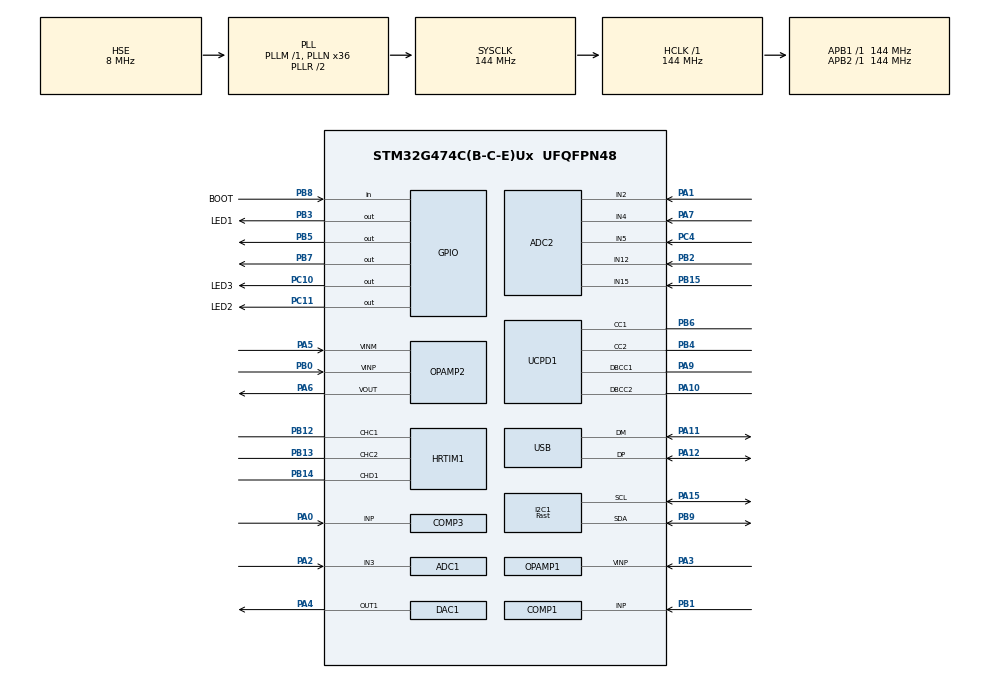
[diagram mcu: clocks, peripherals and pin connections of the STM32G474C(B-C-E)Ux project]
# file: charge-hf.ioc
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ADC1.Channel-1\#ChannelRegularConversion=ADC_CHANNEL_3
ADC1.EnableInjectedConversion=DISABLE
ADC1.NbrOfConversionFlag=1
ADC1.OffsetNumber-1\#ChannelRegularConversion=ADC_OFFSET_NONE
ADC1.Rank-1\#ChannelRegularConversion=1
ADC1.SamplingTime-1\#ChannelRegularConversion=ADC_SAMPLETIME_2CYCLES_5
ADC1.master=1
ADC2.Channel-5\#ChannelRegularConversion=ADC_CHANNEL_4
ADC2.Channel-6\#ChannelRegularConversion=ADC_CHANNEL_5
ADC2.ContinuousConvMode=ENABLE
ADC2.DMAContinuousRequests=ENABLE
ADC2.EOCSelection=ADC_EOC_SEQ_CONV
ADC2.EnableInjectedConversion=ENABLE
ADC2.EnableRegularConversion=ENABLE
ADC2.ExternalTrigInjecConv=ADC_EXTERNALTRIGINJEC_HRTIM_TRG2
ADC2.InjNumberOfConversion=4
ADC2.InjectedChannel-1\#ChannelInjectedConversion=ADC_CHANNEL_VOPAMP2
ADC2.InjectedChannel-2\#ChannelInjectedConversion=ADC_CHANNEL_2
ADC2.InjectedChannel-3\#ChannelInjectedConversion=ADC_CHANNEL_12
ADC2.InjectedChannel-4\#ChannelInjectedConversion=ADC_CHANNEL_15
ADC2.InjectedOffsetNumber-1\#ChannelInjectedConversion=ADC_OFFSET_NONE
ADC2.InjectedOffsetNumber-2\#ChannelInjectedConversion=ADC_OFFSET_NONE
ADC2.InjectedOffsetNumber-3\#ChannelInjectedConversion=ADC_OFFSET_NONE
ADC2.InjectedOffsetNumber-4\#ChannelInjectedConversion=ADC_OFFSET_NONE
ADC2.InjectedRank-1\#ChannelInjectedConversion=1
ADC2.InjectedRank-2\#ChannelInjectedConversion=2
ADC2.InjectedRank-3\#ChannelInjectedConversion=3
ADC2.InjectedRank-4\#ChannelInjectedConversion=4
ADC2.InjectedSamplingTime-1\#ChannelInjectedConversion=ADC_SAMPLETIME_47CYCLES_5
ADC2.InjectedSamplingTime-2\#ChannelInjectedConversion=ADC_SAMPLETIME_47CYCLES_5
ADC2.InjectedSamplingTime-3\#ChannelInjectedConversion=ADC_SAMPLETIME_47CYCLES_5
ADC2.InjectedSamplingTime-4\#ChannelInjectedConversion=ADC_SAMPLETIME_47CYCLES_5
ADC2.NbrOfConversion=2
ADC2.NbrOfConversionFlag=1
ADC2.OffsetNumber-5\#ChannelRegularConversion=ADC_OFFSET_NONE
ADC2.OffsetNumber-6\#ChannelRegularConversion=ADC_OFFSET_NONE
ADC2.Overrun=ADC_OVR_DATA_OVERWRITTEN
ADC2.Rank-5\#ChannelRegularConversion=1
ADC2.Rank-6\#ChannelRegularConversion=2
ADC2.SamplingTime-5\#ChannelRegularConversion=ADC_SAMPLETIME_47CYCLES_5
ADC2.SamplingTime-6\#ChannelRegularConversion=ADC_SAMPLETIME_47CYCLES_5
Dma.ADC2.0.Direction=DMA_PERIPH_TO_MEMORY
Dma.ADC2.0.EventEnable=DISABLE
Dma.ADC2.0.Instance=DMA1_Channel1
Dma.ADC2.0.MemDataAlignment=DMA_MDATAALIGN_HALFWORD
Dma.ADC2.0.MemInc=DMA_MINC_ENABLE
Dma.ADC2.0.Mode=DMA_CIRCULAR
Dma.ADC2.0.PeriphDataAlignment=DMA_PDATAALIGN_HALFWORD
Dma.ADC2.0.PeriphInc=DMA_PINC_DISABLE
Dma.ADC2.0.Polarity=HAL_DMAMUX_REQ_GEN_RISING
Dma.ADC2.0.Priority=DMA_PRIORITY_MEDIUM
Dma.ADC2.0.RequestNumber=1
Dma.ADC2.0.SignalID=NONE
Dma.ADC2.0.SyncEnable=DISABLE
Dma.ADC2.0.SyncPolarity=HAL_DMAMUX_SYNC_NO_EVENT
Dma.ADC2.0.SyncRequestNumber=1
Dma.ADC2.0.SyncSignalID=NONE
Dma.Request0=ADC2
HRTIM1.ADCTrigger1_Source1=HRTIM_ADCTRIGGEREVENT13_TIMERD_CMP3
HRTIM1.ADCTrigger2_Source1=HRTIM_ADCTRIGGEREVENT24_TIMERD_CMP2
HRTIM1.ADCTrigger_Id1=__NULL
HRTIM1.ADCTrigger_Id2=HRTIM_ADCTRIGGER_2
HRTIM1.CompareUnit1-Output_TC1TC2=HRTIM_COMPAREUNIT_1
HRTIM1.CompareUnit1-Output_TD1=HRTIM_COMPAREUNIT_1
HRTIM1.CompareUnit2-Output_TD1=HRTIM_COMPAREUNIT_2
HRTIM1.CompareUnit3-Output_TD1=__NULL
HRTIM1.CompareValue1-Output_TC1TC2=HF_PERIOD/2
HRTIM1.CompareValue1-Output_TD1=0
HRTIM1.CompareValue2-Output_TD1=127
HRTIM1.CompareValue3-Output_TD1=1023
HRTIM1.Configuration_TC=Waveform
HRTIM1.Configuration_TD=Waveform
HRTIM1.DeadTimeInsertion-Output_TC1TC2=HRTIM_TIMDEADTIMEINSERTION_ENABLED
HRTIM1.Event_EEV1=__NULL
HRTIM1.FallingSignLock-Output_TC1TC2=HRTIM_TIMDEADTIME_FALLINGSIGNLOCK_READONLY
HRTIM1.FallingValue-Output_TC1TC2=hf.DTfalling
HRTIM1.NumberADCTriggerSource1=1
HRTIM1.NumberADCTriggerSource2=1
HRTIM1.NumberResetSource1-Output_TC1TC2=1
HRTIM1.NumberResetSource1-Output_TD1=1
HRTIM1.NumberResetSource2_TC=0
HRTIM1.NumberSetSource1-Output_TC1TC2=1
HRTIM1.NumberSetSource1-Output_TD1=1
HRTIM1.NumberSetSource2_TC=0
HRTIM1.OCChannel_TC1=__NULL
HRTIM1.ORingUpdateSource_ADCTrigger1=HRTIM_ADCTRIGGERUPDATE_TIMER_D
HRTIM1.ORingUpdateSource_ADCTrigger2=HRTIM_ADCTRIGGERUPDATE_TIMER_D
HRTIM1.PWMChannel_TC1=HRTIM_OUTPUT_TC1
HRTIM1.PWMChannel_TC2=HRTIM_OUTPUT_TC2
HRTIM1.PWMChannel_TD1=HRTIM_OUTPUT_TD1
HRTIM1.PWMPulse_TD1=127
HRTIM1.Periode_TC=(144000*32) / (uint32_t)(hf.freq / 1000)
HRTIM1.Periode_TD=SEPIC_PERIOD
HRTIM1.Polarity1-Output_TC1TC2=HRTIM_OUTPUTPOLARITY_HIGH
HRTIM1.Polarity2-Output_TC1TC2=HRTIM_OUTPUTPOLARITY_HIGH
HRTIM1.PreloadEnable-Output_TC1TC2=HRTIM_PRELOAD_ENABLED
HRTIM1.PreloadEnable-Output_TD1=HRTIM_PRELOAD_ENABLED
HRTIM1.PrescalerRatio_TC=HRTIM_PRESCALERRATIO_MUL32
HRTIM1.RepetitionCounter-Output_TD1=31
HRTIM1.RepetitionUpdate-Output_TC1TC2=HRTIM_UPDATEONREPETITION_ENABLED
HRTIM1.RepetitionUpdate-Output_TD1=HRTIM_UPDATEONREPETITION_ENABLED
HRTIM1.ResetOutput1_Source1-Output_TC1TC2=HRTIM_OUTPUTRESET_TIMPER
HRTIM1.ResetOutput1_Source1-Output_TD1=HRTIM_OUTPUTRESET_TIMCMP1
HRTIM1.ResetOutput2_Source1-Output_TC1TC2=HRTIM_OUTPUTRESET_TIMCMP1
HRTIM1.RisingSignLock-Output_TC1TC2=HRTIM_TIMDEADTIME_RISINGSIGNLOCK_READONLY
HRTIM1.RisingValue-Output_TC1TC2=hf.DTrising
HRTIM1.SetOutput1_Source1-Output_TC1TC2=HRTIM_OUTPUTSET_TIMCMP1
HRTIM1.SetOutput1_Source1-Output_TD1=HRTIM_OUTPUTSET_TIMPER
HRTIM1.SetOutput2_Source1-Output_TC1TC2=HRTIM_OUTPUTSET_TIMPER
I2C1.I2C_Speed_Mode=I2C_Fast
I2C1.Timing=0x00E057FD
Mcu.Family=STM32G4
Mcu.Name=STM32G474C(B-C-E)Ux
Mcu.Package=UFQFPN48
NVIC.DMA1_Channel1_IRQn=true\:0\:0\:false\:false\:true\:false\:true
NVIC.HRTIM1_TIMD_IRQn=true\:0\:0\:false\:false\:true\:true\:true
NVIC.PriorityGroup=NVIC_PRIORITYGROUP_4
OPAMP1.PgaGain=OPAMP_PGA_GAIN_16_OR_MINUS_15
OPAMP1.PowerMode=OPAMP_POWERMODE_HIGHSPEED
OPAMP2.PgaGain=OPAMP_PGA_GAIN_64_OR_MINUS_63
OPAMP2.PowerMode=OPAMP_POWERMODE_HIGHSPEED
PA0.Mode=INP
PA0.Signal=COMP3_INP
PA1.Mode=IN2-Single-Ended
PA1.Signal=ADC2_IN2
PA10.Mode=EnableDeadBattery
PA10.Signal=UCPD1_DBCC2
PA11.Mode=Device
PA11.Signal=USB_DM
PA12.Mode=Device
PA12.Signal=USB_DP
PA13.Mode=Serial_Wire
PA13.Signal=SYS_JTMS-SWDIO
PA14.Mode=Serial_Wire
PA14.Signal=SYS_JTCK-SWCLK
PA15.Mode=I2C
PA15.Signal=I2C1_SCL
PA2.Mode=IN3-Single-Ended
PA2.Signal=ADC1_IN3
PA3.Mode=PGA_Internally_Connected
PA3.Signal=OPAMP1_VINP
PA4.Signal=COMP_DAC11_group
PA5.Mode=PGA Connected
PA5.Signal=OPAMP2_VINM
PA6.Mode=PGA Connected
PA6.Signal=OPAMP2_VOUT
PA7.Mode=IN4-Single-Ended
PA7.Signal=ADC2_IN4
PA9.Mode=EnableDeadBattery
PA9.Signal=UCPD1_DBCC1
PB0.Mode=PGA Connected
PB0.Signal=OPAMP2_VINP
PB1.Mode=INP
PB1.Signal=COMP1_INP
PB12.Mode=Output_TC1TC2
PB12.Signal=HRTIM1_CHC1
PB13.Mode=Output_TC1TC2
PB13.Signal=HRTIM1_CHC2
PB14.Mode=Output_TD1
PB14.Signal=HRTIM1_CHD1
PB15.Mode=IN15-Single-Ended
PB15.Signal=ADC2_IN15
PB2.Mode=IN12-Single-Ended
PB2.Signal=ADC2_IN12
PB3.GPIO_Label=LED1
PB3.Signal=GPIO_Output
PB4.Mode=Sink_AllSignals
PB4.Signal=UCPD1_CC2
PB5.Signal=GPIO_Output
PB6.Mode=Sink_AllSignals
PB6.Signal=UCPD1_CC1
PB7.Signal=GPIO_Output
PB8-BOOT0.GPIO_Label=BOOT
PB8-BOOT0.Signal=GPIO_Input
PB9.Mode=I2C
PB9.Signal=I2C1_SDA
PC10.GPIO_Label=LED3
PC10.Signal=GPIO_Output
PC11.GPIO_Label=LED2
PC11.Signal=GPIO_Output
PC4.Mode=IN5-Single-Ended
PC4.Signal=ADC2_IN5
PF0-OSC_IN.Mode=HSE-External-Oscillator
PF0-OSC_IN.Signal=RCC_OSC_IN
PF1-OSC_OUT.Mode=HSE-External-Oscillator
PF1-OSC_OUT.Signal=RCC_OSC_OUT
ProjectManager.HeapSize=0x200
ProjectManager.StackSize=0x400
ProjectManager.TargetToolchain=Makefile
RCC.ADC12Freq_Value=144000000
RCC.ADC345Freq_Value=144000000
RCC.AHBFreq_Value=144000000
RCC.APB1Freq_Value=144000000
RCC.APB1TimFreq_Value=144000000
RCC.APB2Freq_Value=144000000
RCC.APB2TimFreq_Value=144000000
RCC.CortexFreq_Value=144000000
RCC.EXTERNAL_CLOCK_VALUE=12288000
RCC.HCLKFreq_Value=144000000
RCC.HSE_VALUE=8000000
RCC.HSI48_VALUE=48000000
RCC.HSI_VALUE=16000000
RCC.LSE_VALUE=32768
RCC.PLLN=36
RCC.PLLQ=RCC_PLLQ_DIV6
RCC.PLLSourceVirtual=RCC_PLLSOURCE_HSE
RCC.SYSCLKFreq_VALUE=144000000
RCC.SYSCLKSource=RCC_SYSCLKSOURCE_PLLCLK
RCC.USBFreq_Value=48000000
RCC.VCOOutputFreq_Value=288000000
SH.COMP_DAC11_group.0=DAC1_OUT1,DAC_OUT1_ExtAndInt
VP_ADC1_OPAMP_INTERNAL1.Mode=IN-OPAMP1
VP_ADC2_OPAMP_INTERNAL2.Mode=IN-OPAMP2
VP_COMP1_VS_DAC1OUT1.Mode=INM_DAC1OUT1
VP_COMP3_VS_DAC3OUT1.Mode=INM_DAC3OUT1
VP_DAC3_VS_DACI1.Mode=DAC_OUT1_Int
VP_SYS_VS_DBSignals.Mode=DisableDeadBatterySignals
VREF+.Mode=InternalMode
VREF+.Signal=VREFBUF_OUT
board=custom

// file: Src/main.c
/* USER CODE BEGIN Header */
/**
  ******************************************************************************
  * @file           : main.c
  * @brief          : Main program body
  ******************************************************************************
  * @attention
  *
  * <h2><center>&copy; Copyright (c) 2021 STMicroelectronics.
  * All rights reserved.</center></h2>
  *
  * This software component is licensed by ST under BSD 3-Clause license,
  * the "License"; You may not use this file except in compliance with the
  * License. You may obtain a copy of the License at:
  *                        opensource.org/licenses/BSD-3-Clause
  *
  ******************************************************************************
  */
/* USER CODE END Header */

#include "main.h"

/* USER CODE BEGIN Includes */
#include "stm32g4xx_ll_hrtim.h"
#include <stdio.h>
#include <stdlib.h>
#include <string.h>
#include "usb_device.h"
/* USER CODE END Includes */

ADC_HandleTypeDef hadc1;
ADC_HandleTypeDef hadc2;
DMA_HandleTypeDef hdma_adc2;

COMP_HandleTypeDef hcomp1;
COMP_HandleTypeDef hcomp3;

DAC_HandleTypeDef hdac1;
DAC_HandleTypeDef hdac3;

HRTIM_HandleTypeDef hhrtim1;

I2C_HandleTypeDef hi2c1;

OPAMP_HandleTypeDef hopamp1;
OPAMP_HandleTypeDef hopamp2;

PCD_HandleTypeDef hpcd_USB_FS;

/* USER CODE BEGIN PV */
/* SCPI bbuffer */
extern uint8_t UserRxBufferFS[APP_RX_DATA_SIZE];
extern uint8_t UserTxBufferFS[APP_TX_DATA_SIZE];
uint8_t is_new_data_ready;
uint16_t new_data_length;

volatile sepic_control_t sepic = {
  .Vset = 5.0, // 5V amplifier supply
  .Iset = 3.0  // 3A USB current limit
};

volatile knobs_t knobs;

volatile hf_control_t hf = {
  .freq = 6780000,  // 6.78 MHz
  .DTrising = 4, // rising deadtime, 0 - 511
  .DTfalling = 4 // falling deadtime, 0 - 511
};

uint16_t adc2_regular_buf[2];

/* USER CODE END PV */

void SystemClock_Config(void);
static void MX_GPIO_Init(void);
static void MX_DMA_Init(void);
static void MX_ADC1_Init(void);
static void MX_ADC2_Init(void);
static void MX_COMP1_Init(void);
static void MX_COMP3_Init(void);
static void MX_DAC1_Init(void);
static void MX_DAC3_Init(void);
static void MX_HRTIM1_Init(void);
static void MX_I2C1_Init(void);
static void MX_OPAMP1_Init(void);
static void MX_OPAMP2_Init(void);
static void MX_UCPD1_Init(void);
static void MX_USB_PCD_Init(void);

/* USER CODE BEGIN 0 */
void HAL_HRTIM_RepetitionEventCallback(HRTIM_HandleTypeDef * hhrtim, uint32_t TimerIdx) {
  if (TimerIdx == HRTIM_TIMERINDEX_TIMER_D) {
    sepic.Icycle = (HAL_ADCEx_InjectedGetValue(&hadc2, ADC_INJECTED_RANK_1) * VDDA)/0xFFF;
    sepic.Icycle = sepic.Icycle / (0.01 * 64.0); // 10m sense, OPAMP2 64 Gain

    sepic.Vout = (HAL_ADCEx_InjectedGetValue(&hadc2, ADC_INJECTED_RANK_2) * VDDA)/0xFFF;
    sepic.Vout = sepic.Vout / (5100.0 / (100000.0 + 5100.0)); // 100k by 5k1 divider

    sepic.Iin = (HAL_ADCEx_InjectedGetValue(&hadc2, ADC_INJECTED_RANK_3) * VDDA)/0xFFF;
    sepic.Iin = sepic.Iin / (0.01 * (2000.0 / 33.0)); // Si8540, 10m sense, 2k Rout, 33R Rg

    sepic.Vin = (HAL_ADCEx_InjectedGetValue(&hadc2, ADC_INJECTED_RANK_4) * VDDA)/0xFFF;
    sepic.Vin = sepic.Vin / (5100.0 / (5100.0 + 5100.0)); // 5k1 by 5k1 divider
  }
}

/* USER CODE END 0 */

int main(void)
{

  /* MCU Configuration--------------------------------------------------------*/

  /* Reset of all peripherals, Initializes the Flash interface and the Systick. */
  HAL_Init();

  /* Configure the system clock */
  SystemClock_Config();

  /* Initialize all configured peripherals */
  MX_GPIO_Init();
  MX_DMA_Init();
  MX_ADC1_Init();
  MX_ADC2_Init();
  MX_COMP1_Init();
  MX_COMP3_Init();
  MX_DAC1_Init();
  MX_DAC3_Init();
  MX_HRTIM1_Init();
  MX_I2C1_Init();
  MX_OPAMP1_Init();
  MX_OPAMP2_Init();
  MX_UCPD1_Init();
  MX_USB_PCD_Init();
  /* USER CODE BEGIN 2 */
  MX_USB_Device_Init();

  SCPI_Init(&scpi_context,
      scpi_commands,
      &scpi_interface,
      scpi_units_def,
      SCPI_IDN1, SCPI_IDN2, SCPI_IDN3, SCPI_IDN4,
      scpi_input_buffer, SCPI_INPUT_BUFFER_LENGTH,
      scpi_error_queue_data, SCPI_ERROR_QUEUE_SIZE);

  /* Run the ADC2 calibration in single-ended mode */
  HAL_ADCEx_Calibration_Start(&hadc2, ADC_SINGLE_ENDED);

  /* Start ADC2 Injected Conversions */
  HAL_ADCEx_InjectedStart(&hadc2);

  /* HRTIM start-up */
  /* Enable HRTIM's outputs TC1, TC2 and TD1 */
  LL_HRTIM_EnableOutput(HRTIM1,
                          LL_HRTIM_OUTPUT_TC1
                        | LL_HRTIM_OUTPUT_TC2
                        | LL_HRTIM_OUTPUT_TD1);

  LL_HRTIM_EnableIT_REP(HRTIM1, LL_HRTIM_TIMER_C);
  LL_HRTIM_EnableIT_REP(HRTIM1, LL_HRTIM_TIMER_D);
  LL_HRTIM_TIM_CounterEnable(HRTIM1, LL_HRTIM_TIMER_C);
  LL_HRTIM_TIM_CounterEnable(HRTIM1, LL_HRTIM_TIMER_D);

  LL_HRTIM_TIM_SetCompare1(HRTIM1, LL_HRTIM_TIMER_D, 2000);

  HAL_ADC_Start_DMA(&hadc2, (uint32_t *)adc2_regular_buf, 2);

  /* USER CODE END 2 */

  /* Infinite loop */
  /* USER CODE BEGIN WHILE */
  uint32_t i = 0;
  while (1)
  {
    i++;
    if (i % 100000 == 0) {
      knobs.knob1 = (adc2_regular_buf[0] * VDDA)/0xFFF;
      knobs.knob2 = (adc2_regular_buf[1] * VDDA)/0xFFF;
    }
    /* USER CODE END WHILE */

    /* USER CODE BEGIN 3 */
    if (is_new_data_ready) {
      SCPI_Input(&scpi_context, UserRxBufferFS, new_data_length);
      is_new_data_ready = 0;
    }
  }
  /* USER CODE END 3 */
}

void SystemClock_Config(void)
{
  RCC_OscInitTypeDef RCC_OscInitStruct = {0};
  RCC_ClkInitTypeDef RCC_ClkInitStruct = {0};
  RCC_PeriphCLKInitTypeDef PeriphClkInit = {0};

  /** Configure the main internal regulator output voltage
  */
  HAL_PWREx_ControlVoltageScaling(PWR_REGULATOR_VOLTAGE_SCALE1);
  /** Initializes the CPU, AHB and APB busses clocks
  */
  RCC_OscInitStruct.OscillatorType = RCC_OSCILLATORTYPE_HSE;
  RCC_OscInitStruct.HSEState = RCC_HSE_ON;
  RCC_OscInitStruct.PLL.PLLState = RCC_PLL_ON;
  RCC_OscInitStruct.PLL.PLLSource = RCC_PLLSOURCE_HSE;
  RCC_OscInitStruct.PLL.PLLM = RCC_PLLM_DIV1;
  RCC_OscInitStruct.PLL.PLLN = 36;
  RCC_OscInitStruct.PLL.PLLP = RCC_PLLP_DIV2;
  RCC_OscInitStruct.PLL.PLLQ = RCC_PLLQ_DIV6;
  RCC_OscInitStruct.PLL.PLLR = RCC_PLLR_DIV2;
  if (HAL_RCC_OscConfig(&RCC_OscInitStruct) != HAL_OK)
  {
    Error_Handler();
  }
  /** Initializes the CPU, AHB and APB busses clocks
  */
  RCC_ClkInitStruct.ClockType = RCC_CLOCKTYPE_HCLK|RCC_CLOCKTYPE_SYSCLK
                              |RCC_CLOCKTYPE_PCLK1|RCC_CLOCKTYPE_PCLK2;
  RCC_ClkInitStruct.SYSCLKSource = RCC_SYSCLKSOURCE_PLLCLK;
  RCC_ClkInitStruct.AHBCLKDivider = RCC_SYSCLK_DIV1;
  RCC_ClkInitStruct.APB1CLKDivider = RCC_HCLK_DIV1;
  RCC_ClkInitStruct.APB2CLKDivider = RCC_HCLK_DIV1;

  if (HAL_RCC_ClockConfig(&RCC_ClkInitStruct, FLASH_LATENCY_7) != HAL_OK)
  {
    Error_Handler();
  }
  /** Initializes the peripherals clocks
  */
  PeriphClkInit.PeriphClockSelection = RCC_PERIPHCLK_I2C1|RCC_PERIPHCLK_USB
                              |RCC_PERIPHCLK_ADC12;
  PeriphClkInit.I2c1ClockSelection = RCC_I2C1CLKSOURCE_PCLK1;
  PeriphClkInit.UsbClockSelection = RCC_USBCLKSOURCE_PLL;
  PeriphClkInit.Adc12ClockSelection = RCC_ADC12CLKSOURCE_SYSCLK;
  if (HAL_RCCEx_PeriphCLKConfig(&PeriphClkInit) != HAL_OK)
  {
    Error_Handler();
  }
}

static void MX_ADC1_Init(void)
{

  ADC_MultiModeTypeDef multimode = {0};
  ADC_ChannelConfTypeDef sConfig = {0};

  /** Common config
  */
  hadc1.Instance = ADC1;
  hadc1.Init.ClockPrescaler = ADC_CLOCK_ASYNC_DIV1;
  hadc1.Init.Resolution = ADC_RESOLUTION_12B;
  hadc1.Init.DataAlign = ADC_DATAALIGN_RIGHT;
  hadc1.Init.GainCompensation = 0;
  hadc1.Init.ScanConvMode = ADC_SCAN_DISABLE;
  hadc1.Init.EOCSelection = ADC_EOC_SINGLE_CONV;
  hadc1.Init.LowPowerAutoWait = DISABLE;
  hadc1.Init.ContinuousConvMode = DISABLE;
  hadc1.Init.NbrOfConversion = 1;
  hadc1.Init.DiscontinuousConvMode = DISABLE;
  hadc1.Init.ExternalTrigConv = ADC_SOFTWARE_START;
  hadc1.Init.ExternalTrigConvEdge = ADC_EXTERNALTRIGCONVEDGE_NONE;
  hadc1.Init.DMAContinuousRequests = DISABLE;
  hadc1.Init.Overrun = ADC_OVR_DATA_PRESERVED;
  hadc1.Init.OversamplingMode = DISABLE;
  if (HAL_ADC_Init(&hadc1) != HAL_OK)
  {
    Error_Handler();
  }
  /** Configure the ADC multi-mode
  */
  multimode.Mode = ADC_MODE_INDEPENDENT;
  if (HAL_ADCEx_MultiModeConfigChannel(&hadc1, &multimode) != HAL_OK)
  {
    Error_Handler();
  }
  /** Configure Regular Channel
  */
  sConfig.Channel = ADC_CHANNEL_3;
  sConfig.Rank = ADC_REGULAR_RANK_1;
  sConfig.SamplingTime = ADC_SAMPLETIME_2CYCLES_5;
  sConfig.SingleDiff = ADC_SINGLE_ENDED;
  sConfig.OffsetNumber = ADC_OFFSET_NONE;
  sConfig.Offset = 0;
  if (HAL_ADC_ConfigChannel(&hadc1, &sConfig) != HAL_OK)
  {
    Error_Handler();
  }

}

static void MX_ADC2_Init(void)
{

  ADC_InjectionConfTypeDef sConfigInjected = {0};
  ADC_ChannelConfTypeDef sConfig = {0};

  /** Common config
  */
  hadc2.Instance = ADC2;
  hadc2.Init.ClockPrescaler = ADC_CLOCK_ASYNC_DIV1;
  hadc2.Init.Resolution = ADC_RESOLUTION_12B;
  hadc2.Init.DataAlign = ADC_DATAALIGN_RIGHT;
  hadc2.Init.GainCompensation = 0;
  hadc2.Init.ScanConvMode = ADC_SCAN_ENABLE;
  hadc2.Init.EOCSelection = ADC_EOC_SEQ_CONV;
  hadc2.Init.LowPowerAutoWait = DISABLE;
  hadc2.Init.ContinuousConvMode = ENABLE;
  hadc2.Init.NbrOfConversion = 2;
  hadc2.Init.DiscontinuousConvMode = DISABLE;
  hadc2.Init.ExternalTrigConv = ADC_SOFTWARE_START;
  hadc2.Init.ExternalTrigConvEdge = ADC_EXTERNALTRIGCONVEDGE_NONE;
  hadc2.Init.DMAContinuousRequests = ENABLE;
  hadc2.Init.Overrun = ADC_OVR_DATA_OVERWRITTEN;
  hadc2.Init.OversamplingMode = DISABLE;
  if (HAL_ADC_Init(&hadc2) != HAL_OK)
  {
    Error_Handler();
  }
  /** Configure Injected Channel
  */
  sConfigInjected.InjectedChannel = ADC_CHANNEL_VOPAMP2;
  sConfigInjected.InjectedRank = ADC_INJECTED_RANK_1;
  sConfigInjected.InjectedSamplingTime = ADC_SAMPLETIME_47CYCLES_5;
  sConfigInjected.InjectedSingleDiff = ADC_SINGLE_ENDED;
  sConfigInjected.InjectedOffsetNumber = ADC_OFFSET_NONE;
  sConfigInjected.InjectedOffset = 0;
  sConfigInjected.InjectedNbrOfConversion = 4;
  sConfigInjected.InjectedDiscontinuousConvMode = DISABLE;
  sConfigInjected.AutoInjectedConv = DISABLE;
  sConfigInjected.QueueInjectedContext = DISABLE;
  sConfigInjected.ExternalTrigInjecConv = ADC_EXTERNALTRIGINJEC_HRTIM_TRG2;
  sConfigInjected.ExternalTrigInjecConvEdge = ADC_EXTERNALTRIGINJECCONV_EDGE_RISING;
  sConfigInjected.InjecOversamplingMode = DISABLE;
  if (HAL_ADCEx_InjectedConfigChannel(&hadc2, &sConfigInjected) != HAL_OK)
  {
    Error_Handler();
  }
  /** Configure Injected Channel
  */
  sConfigInjected.InjectedChannel = ADC_CHANNEL_2;
  sConfigInjected.InjectedRank = ADC_INJECTED_RANK_2;
  if (HAL_ADCEx_InjectedConfigChannel(&hadc2, &sConfigInjected) != HAL_OK)
  {
    Error_Handler();
  }
  /** Configure Injected Channel
  */
  sConfigInjected.InjectedChannel = ADC_CHANNEL_12;
  sConfigInjected.InjectedRank = ADC_INJECTED_RANK_3;
  if (HAL_ADCEx_InjectedConfigChannel(&hadc2, &sConfigInjected) != HAL_OK)
  {
    Error_Handler();
  }
  /** Configure Injected Channel
  */
  sConfigInjected.InjectedChannel = ADC_CHANNEL_15;
  sConfigInjected.InjectedRank = ADC_INJECTED_RANK_4;
  if (HAL_ADCEx_InjectedConfigChannel(&hadc2, &sConfigInjected) != HAL_OK)
  {
    Error_Handler();
  }
  /** Configure Regular Channel
  */
  sConfig.Channel = ADC_CHANNEL_4;
  sConfig.Rank = ADC_REGULAR_RANK_1;
  sConfig.SamplingTime = ADC_SAMPLETIME_47CYCLES_5;
  sConfig.SingleDiff = ADC_SINGLE_ENDED;
  sConfig.OffsetNumber = ADC_OFFSET_NONE;
  sConfig.Offset = 0;
  if (HAL_ADC_ConfigChannel(&hadc2, &sConfig) != HAL_OK)
  {
    Error_Handler();
  }
  /** Configure Regular Channel
  */
  sConfig.Channel = ADC_CHANNEL_5;
  sConfig.Rank = ADC_REGULAR_RANK_2;
  if (HAL_ADC_ConfigChannel(&hadc2, &sConfig) != HAL_OK)
  {
    Error_Handler();
  }

}

static void MX_COMP1_Init(void)
{

  hcomp1.Instance = COMP1;
  hcomp1.Init.InputPlus = COMP_INPUT_PLUS_IO2;
  hcomp1.Init.InputMinus = COMP_INPUT_MINUS_DAC1_CH1;
  hcomp1.Init.OutputPol = COMP_OUTPUTPOL_NONINVERTED;
  hcomp1.Init.Hysteresis = COMP_HYSTERESIS_NONE;
  hcomp1.Init.BlankingSrce = COMP_BLANKINGSRC_NONE;
  hcomp1.Init.TriggerMode = COMP_TRIGGERMODE_NONE;
  if (HAL_COMP_Init(&hcomp1) != HAL_OK)
  {
    Error_Handler();
  }

}

static void MX_COMP3_Init(void)
{

  hcomp3.Instance = COMP3;
  hcomp3.Init.InputPlus = COMP_INPUT_PLUS_IO1;
  hcomp3.Init.InputMinus = COMP_INPUT_MINUS_DAC3_CH1;
  hcomp3.Init.OutputPol = COMP_OUTPUTPOL_NONINVERTED;
  hcomp3.Init.Hysteresis = COMP_HYSTERESIS_NONE;
  hcomp3.Init.BlankingSrce = COMP_BLANKINGSRC_NONE;
  hcomp3.Init.TriggerMode = COMP_TRIGGERMODE_NONE;
  if (HAL_COMP_Init(&hcomp3) != HAL_OK)
  {
    Error_Handler();
  }

}

static void MX_DAC1_Init(void)
{

  DAC_ChannelConfTypeDef sConfig = {0};

  /** DAC Initialization
  */
  hdac1.Instance = DAC1;
  if (HAL_DAC_Init(&hdac1) != HAL_OK)
  {
    Error_Handler();
  }
  /** DAC channel OUT1 config
  */
  sConfig.DAC_HighFrequency = DAC_HIGH_FREQUENCY_INTERFACE_MODE_AUTOMATIC;
  sConfig.DAC_DMADoubleDataMode = DISABLE;
  sConfig.DAC_SignedFormat = DISABLE;
  sConfig.DAC_SampleAndHold = DAC_SAMPLEANDHOLD_DISABLE;
  sConfig.DAC_Trigger = DAC_TRIGGER_NONE;
  sConfig.DAC_Trigger2 = DAC_TRIGGER_NONE;
  sConfig.DAC_OutputBuffer = DAC_OUTPUTBUFFER_ENABLE;
  sConfig.DAC_ConnectOnChipPeripheral = DAC_CHIPCONNECT_ENABLE;
  sConfig.DAC_UserTrimming = DAC_TRIMMING_FACTORY;
  if (HAL_DAC_ConfigChannel(&hdac1, &sConfig, DAC_CHANNEL_1) != HAL_OK)
  {
    Error_Handler();
  }

}

static void MX_DAC3_Init(void)
{

  DAC_ChannelConfTypeDef sConfig = {0};

  /** DAC Initialization
  */
  hdac3.Instance = DAC3;
  if (HAL_DAC_Init(&hdac3) != HAL_OK)
  {
    Error_Handler();
  }
  /** DAC channel OUT1 config
  */
  sConfig.DAC_HighFrequency = DAC_HIGH_FREQUENCY_INTERFACE_MODE_AUTOMATIC;
  sConfig.DAC_DMADoubleDataMode = DISABLE;
  sConfig.DAC_SignedFormat = DISABLE;
  sConfig.DAC_SampleAndHold = DAC_SAMPLEANDHOLD_DISABLE;
  sConfig.DAC_Trigger = DAC_TRIGGER_NONE;
  sConfig.DAC_Trigger2 = DAC_TRIGGER_NONE;
  sConfig.DAC_OutputBuffer = DAC_OUTPUTBUFFER_DISABLE;
  sConfig.DAC_ConnectOnChipPeripheral = DAC_CHIPCONNECT_ENABLE;
  sConfig.DAC_UserTrimming = DAC_TRIMMING_FACTORY;
  if (HAL_DAC_ConfigChannel(&hdac3, &sConfig, DAC_CHANNEL_1) != HAL_OK)
  {
    Error_Handler();
  }

}

static void MX_HRTIM1_Init(void)
{

  HRTIM_ADCTriggerCfgTypeDef pADCTriggerCfg = {0};
  HRTIM_TimeBaseCfgTypeDef pTimeBaseCfg = {0};
  HRTIM_TimerCtlTypeDef pTimerCtl = {0};
  HRTIM_TimerCfgTypeDef pTimerCfg = {0};
  HRTIM_CompareCfgTypeDef pCompareCfg = {0};
  HRTIM_DeadTimeCfgTypeDef pDeadTimeCfg = {0};
  HRTIM_OutputCfgTypeDef pOutputCfg = {0};

  hhrtim1.Instance = HRTIM1;
  hhrtim1.Init.HRTIMInterruptResquests = HRTIM_IT_NONE;
  hhrtim1.Init.SyncOptions = HRTIM_SYNCOPTION_NONE;
  if (HAL_HRTIM_Init(&hhrtim1) != HAL_OK)
  {
    Error_Handler();
  }
  if (HAL_HRTIM_DLLCalibrationStart(&hhrtim1, HRTIM_CALIBRATIONRATE_3) != HAL_OK)
  {
    Error_Handler();
  }
  if (HAL_HRTIM_PollForDLLCalibration(&hhrtim1, 10) != HAL_OK)
  {
    Error_Handler();
  }
  pADCTriggerCfg.UpdateSource = HRTIM_ADCTRIGGERUPDATE_TIMER_D;
  pADCTriggerCfg.Trigger = HRTIM_ADCTRIGGEREVENT24_TIMERD_CMP2;
  if (HAL_HRTIM_ADCTriggerConfig(&hhrtim1, HRTIM_ADCTRIGGER_2, &pADCTriggerCfg) != HAL_OK)
  {
    Error_Handler();
  }
  if (HAL_HRTIM_ADCPostScalerConfig(&hhrtim1, HRTIM_ADCTRIGGER_2, 0x0) != HAL_OK)
  {
    Error_Handler();
  }
  pTimeBaseCfg.Period = (144000*32) / (uint32_t)(hf.freq / 1000);
  pTimeBaseCfg.RepetitionCounter = 0x00;
  pTimeBaseCfg.PrescalerRatio = HRTIM_PRESCALERRATIO_MUL32;
  pTimeBaseCfg.Mode = HRTIM_MODE_CONTINUOUS;
  if (HAL_HRTIM_TimeBaseConfig(&hhrtim1, HRTIM_TIMERINDEX_TIMER_C, &pTimeBaseCfg) != HAL_OK)
  {
    Error_Handler();
  }
  pTimerCtl.UpDownMode = HRTIM_TIMERUPDOWNMODE_UP;
  pTimerCtl.GreaterCMP1 = HRTIM_TIMERGTCMP1_EQUAL;
  pTimerCtl.DualChannelDacEnable = HRTIM_TIMER_DCDE_DISABLED;
  if (HAL_HRTIM_WaveformTimerControl(&hhrtim1, HRTIM_TIMERINDEX_TIMER_C, &pTimerCtl) != HAL_OK)
  {
    Error_Handler();
  }
  pTimerCfg.InterruptRequests = HRTIM_TIM_IT_NONE;
  pTimerCfg.DMARequests = HRTIM_TIM_DMA_NONE;
  pTimerCfg.DMASrcAddress = 0x0000;
  pTimerCfg.DMADstAddress = 0x0000;
  pTimerCfg.DMASize = 0x1;
  pTimerCfg.HalfModeEnable = HRTIM_HALFMODE_DISABLED;
  pTimerCfg.InterleavedMode = HRTIM_INTERLEAVED_MODE_DISABLED;
  pTimerCfg.StartOnSync = HRTIM_SYNCSTART_DISABLED;
  pTimerCfg.ResetOnSync = HRTIM_SYNCRESET_DISABLED;
  pTimerCfg.DACSynchro = HRTIM_DACSYNC_NONE;
  pTimerCfg.PreloadEnable = HRTIM_PRELOAD_ENABLED;
  pTimerCfg.UpdateGating = HRTIM_UPDATEGATING_INDEPENDENT;
  pTimerCfg.BurstMode = HRTIM_TIMERBURSTMODE_MAINTAINCLOCK;
  pTimerCfg.RepetitionUpdate = HRTIM_UPDATEONREPETITION_ENABLED;
  pTimerCfg.PushPull = HRTIM_TIMPUSHPULLMODE_DISABLED;
  pTimerCfg.FaultEnable = HRTIM_TIMFAULTENABLE_NONE;
  pTimerCfg.FaultLock = HRTIM_TIMFAULTLOCK_READWRITE;
  pTimerCfg.DeadTimeInsertion = HRTIM_TIMDEADTIMEINSERTION_ENABLED;
  pTimerCfg.DelayedProtectionMode = HRTIM_TIMER_A_B_C_DELAYEDPROTECTION_DISABLED;
  pTimerCfg.UpdateTrigger = HRTIM_TIMUPDATETRIGGER_NONE;
  pTimerCfg.ResetTrigger = HRTIM_TIMRESETTRIGGER_NONE;
  pTimerCfg.ResetUpdate = HRTIM_TIMUPDATEONRESET_DISABLED;
  pTimerCfg.ReSyncUpdate = HRTIM_TIMERESYNC_UPDATE_UNCONDITIONAL;
  if (HAL_HRTIM_WaveformTimerConfig(&hhrtim1, HRTIM_TIMERINDEX_TIMER_C, &pTimerCfg) != HAL_OK)
  {
    Error_Handler();
  }
  pTimerCfg.DMASrcAddress = 0x0000;
  pTimerCfg.DMADstAddress = 0x0000;
  pTimerCfg.DMASize = 0x1;
  pTimerCfg.DeadTimeInsertion = HRTIM_TIMDEADTIMEINSERTION_DISABLED;
  pTimerCfg.DelayedProtectionMode = HRTIM_TIMER_D_E_DELAYEDPROTECTION_DISABLED;
  if (HAL_HRTIM_WaveformTimerConfig(&hhrtim1, HRTIM_TIMERINDEX_TIMER_D, &pTimerCfg) != HAL_OK)
  {
    Error_Handler();
  }
  pCompareCfg.CompareValue = HF_PERIOD/2;
  if (HAL_HRTIM_WaveformCompareConfig(&hhrtim1, HRTIM_TIMERINDEX_TIMER_C, HRTIM_COMPAREUNIT_1, &pCompareCfg) != HAL_OK)
  {
    Error_Handler();
  }
  pDeadTimeCfg.Prescaler = HRTIM_TIMDEADTIME_PRESCALERRATIO_MUL8;
  pDeadTimeCfg.RisingValue = hf.DTrising;
  pDeadTimeCfg.RisingSign = HRTIM_TIMDEADTIME_RISINGSIGN_POSITIVE;
  pDeadTimeCfg.RisingLock = HRTIM_TIMDEADTIME_RISINGLOCK_WRITE;
  pDeadTimeCfg.RisingSignLock = HRTIM_TIMDEADTIME_RISINGSIGNLOCK_READONLY;
  pDeadTimeCfg.FallingValue = hf.DTfalling;
  pDeadTimeCfg.FallingSign = HRTIM_TIMDEADTIME_FALLINGSIGN_POSITIVE;
  pDeadTimeCfg.FallingLock = HRTIM_TIMDEADTIME_FALLINGLOCK_WRITE;
  pDeadTimeCfg.FallingSignLock = HRTIM_TIMDEADTIME_FALLINGSIGNLOCK_READONLY;
  if (HAL_HRTIM_DeadTimeConfig(&hhrtim1, HRTIM_TIMERINDEX_TIMER_C, &pDeadTimeCfg) != HAL_OK)
  {
    Error_Handler();
  }
  pOutputCfg.Polarity = HRTIM_OUTPUTPOLARITY_HIGH;
  pOutputCfg.SetSource = HRTIM_OUTPUTSET_TIMCMP1;
  pOutputCfg.ResetSource = HRTIM_OUTPUTRESET_TIMPER;
  pOutputCfg.IdleMode = HRTIM_OUTPUTIDLEMODE_NONE;
  pOutputCfg.IdleLevel = HRTIM_OUTPUTIDLELEVEL_INACTIVE;
  pOutputCfg.FaultLevel = HRTIM_OUTPUTFAULTLEVEL_NONE;
  pOutputCfg.ChopperModeEnable = HRTIM_OUTPUTCHOPPERMODE_DISABLED;
  pOutputCfg.BurstModeEntryDelayed = HRTIM_OUTPUTBURSTMODEENTRY_REGULAR;
  if (HAL_HRTIM_WaveformOutputConfig(&hhrtim1, HRTIM_TIMERINDEX_TIMER_C, HRTIM_OUTPUT_TC1, &pOutputCfg) != HAL_OK)
  {
    Error_Handler();
  }
  pOutputCfg.SetSource = HRTIM_OUTPUTSET_TIMPER;
  pOutputCfg.ResetSource = HRTIM_OUTPUTRESET_TIMCMP1;
  if (HAL_HRTIM_WaveformOutputConfig(&hhrtim1, HRTIM_TIMERINDEX_TIMER_D, HRTIM_OUTPUT_TD1, &pOutputCfg) != HAL_OK)
  {
    Error_Handler();
  }
  pOutputCfg.SetSource = HRTIM_OUTPUTSET_NONE;
  pOutputCfg.ResetSource = HRTIM_OUTPUTRESET_NONE;
  if (HAL_HRTIM_WaveformOutputConfig(&hhrtim1, HRTIM_TIMERINDEX_TIMER_C, HRTIM_OUTPUT_TC2, &pOutputCfg) != HAL_OK)
  {
    Error_Handler();
  }
  pTimeBaseCfg.Period = SEPIC_PERIOD;
  pTimeBaseCfg.RepetitionCounter = 31;
  if (HAL_HRTIM_TimeBaseConfig(&hhrtim1, HRTIM_TIMERINDEX_TIMER_D, &pTimeBaseCfg) != HAL_OK)
  {
    Error_Handler();
  }
  pTimerCtl.TrigHalf = HRTIM_TIMERTRIGHALF_DISABLED;
  if (HAL_HRTIM_WaveformTimerControl(&hhrtim1, HRTIM_TIMERINDEX_TIMER_D, &pTimerCtl) != HAL_OK)
  {
    Error_Handler();
  }
  pCompareCfg.CompareValue = 0;
  if (HAL_HRTIM_WaveformCompareConfig(&hhrtim1, HRTIM_TIMERINDEX_TIMER_D, HRTIM_COMPAREUNIT_1, &pCompareCfg) != HAL_OK)
  {
    Error_Handler();
  }
  pCompareCfg.CompareValue = 127;
  pCompareCfg.AutoDelayedMode = HRTIM_AUTODELAYEDMODE_REGULAR;
  pCompareCfg.AutoDelayedTimeout = 0x0000;

  if (HAL_HRTIM_WaveformCompareConfig(&hhrtim1, HRTIM_TIMERINDEX_TIMER_D, HRTIM_COMPAREUNIT_2, &pCompareCfg) != HAL_OK)
  {
    Error_Handler();
  }
  HAL_HRTIM_MspPostInit(&hhrtim1);

}

static void MX_I2C1_Init(void)
{

  hi2c1.Instance = I2C1;
  hi2c1.Init.Timing = 0x00E057FD;
  hi2c1.Init.OwnAddress1 = 0;
  hi2c1.Init.AddressingMode = I2C_ADDRESSINGMODE_7BIT;
  hi2c1.Init.DualAddressMode = I2C_DUALADDRESS_DISABLE;
  hi2c1.Init.OwnAddress2 = 0;
  hi2c1.Init.OwnAddress2Masks = I2C_OA2_NOMASK;
  hi2c1.Init.GeneralCallMode = I2C_GENERALCALL_DISABLE;
  hi2c1.Init.NoStretchMode = I2C_NOSTRETCH_DISABLE;
  if (HAL_I2C_Init(&hi2c1) != HAL_OK)
  {
    Error_Handler();
  }
  /** Configure Analogue filter
  */
  if (HAL_I2CEx_ConfigAnalogFilter(&hi2c1, I2C_ANALOGFILTER_ENABLE) != HAL_OK)
  {
    Error_Handler();
  }
  /** Configure Digital filter
  */
  if (HAL_I2CEx_ConfigDigitalFilter(&hi2c1, 0) != HAL_OK)
  {
    Error_Handler();
  }

}

static void MX_OPAMP1_Init(void)
{

  hopamp1.Instance = OPAMP1;
  hopamp1.Init.PowerMode = OPAMP_POWERMODE_HIGHSPEED;
  hopamp1.Init.Mode = OPAMP_PGA_MODE;
  hopamp1.Init.NonInvertingInput = OPAMP_NONINVERTINGINPUT_IO1;
  hopamp1.Init.InternalOutput = ENABLE;
  hopamp1.Init.TimerControlledMuxmode = OPAMP_TIMERCONTROLLEDMUXMODE_DISABLE;
  hopamp1.Init.PgaConnect = OPAMP_PGA_CONNECT_INVERTINGINPUT_IO0;
  hopamp1.Init.PgaGain = OPAMP_PGA_GAIN_16_OR_MINUS_15;
  hopamp1.Init.UserTrimming = OPAMP_TRIMMING_FACTORY;
  if (HAL_OPAMP_Init(&hopamp1) != HAL_OK)
  {
    Error_Handler();
  }

}

static void MX_OPAMP2_Init(void)
{

  hopamp2.Instance = OPAMP2;
  hopamp2.Init.PowerMode = OPAMP_POWERMODE_HIGHSPEED;
  hopamp2.Init.Mode = OPAMP_PGA_MODE;
  hopamp2.Init.NonInvertingInput = OPAMP_NONINVERTINGINPUT_IO2;
  hopamp2.Init.InternalOutput = ENABLE;
  hopamp2.Init.TimerControlledMuxmode = OPAMP_TIMERCONTROLLEDMUXMODE_DISABLE;
  hopamp2.Init.PgaConnect = OPAMP_PGA_CONNECT_INVERTINGINPUT_IO0;
  hopamp2.Init.PgaGain = OPAMP_PGA_GAIN_64_OR_MINUS_63;
  hopamp2.Init.UserTrimming = OPAMP_TRIMMING_FACTORY;
  if (HAL_OPAMP_Init(&hopamp2) != HAL_OK)
  {
    Error_Handler();
  }

}

static void MX_UCPD1_Init(void)
{

  /* Peripheral clock enable */
  LL_APB1_GRP2_EnableClock(LL_APB1_GRP2_PERIPH_UCPD1);

}

static void MX_USB_PCD_Init(void)
{

  hpcd_USB_FS.Instance = USB;
  hpcd_USB_FS.Init.dev_endpoints = 8;
  hpcd_USB_FS.Init.speed = PCD_SPEED_FULL;
  hpcd_USB_FS.Init.phy_itface = PCD_PHY_EMBEDDED;
  hpcd_USB_FS.Init.Sof_enable = DISABLE;
  hpcd_USB_FS.Init.low_power_enable = DISABLE;
  hpcd_USB_FS.Init.lpm_enable = DISABLE;
  hpcd_USB_FS.Init.battery_charging_enable = DISABLE;
  if (HAL_PCD_Init(&hpcd_USB_FS) != HAL_OK)
  {
    Error_Handler();
  }

}

static void MX_DMA_Init(void)
{

  /* DMA controller clock enable */
  __HAL_RCC_DMAMUX1_CLK_ENABLE();
  __HAL_RCC_DMA1_CLK_ENABLE();

  /* DMA interrupt init */
  /* DMA1_Channel1_IRQn interrupt configuration */
  HAL_NVIC_SetPriority(DMA1_Channel1_IRQn, 0, 0);
  HAL_NVIC_EnableIRQ(DMA1_Channel1_IRQn);

}

static void MX_GPIO_Init(void)
{
  GPIO_InitTypeDef GPIO_InitStruct = {0};

  /* GPIO Ports Clock Enable */
  __HAL_RCC_GPIOF_CLK_ENABLE();
  __HAL_RCC_GPIOA_CLK_ENABLE();
  __HAL_RCC_GPIOC_CLK_ENABLE();
  __HAL_RCC_GPIOB_CLK_ENABLE();

  /*Configure GPIO pin Output Level */
  HAL_GPIO_WritePin(GPIOC, LED3_Pin|LED2_Pin, GPIO_PIN_RESET);

  /*Configure GPIO pin Output Level */
  HAL_GPIO_WritePin(GPIOB, LED1_Pin|GPIO_PIN_5|GPIO_PIN_7, GPIO_PIN_RESET);

  /*Configure GPIO pins : LED3_Pin LED2_Pin */
  GPIO_InitStruct.Pin = LED3_Pin|LED2_Pin;
  GPIO_InitStruct.Mode = GPIO_MODE_OUTPUT_PP;
  GPIO_InitStruct.Pull = GPIO_NOPULL;
  GPIO_InitStruct.Speed = GPIO_SPEED_FREQ_LOW;
  HAL_GPIO_Init(GPIOC, &GPIO_InitStruct);

  /*Configure GPIO pins : LED1_Pin PB5 PB7 */
  GPIO_InitStruct.Pin = LED1_Pin|GPIO_PIN_5|GPIO_PIN_7;
  GPIO_InitStruct.Mode = GPIO_MODE_OUTPUT_PP;
  GPIO_InitStruct.Pull = GPIO_NOPULL;
  GPIO_InitStruct.Speed = GPIO_SPEED_FREQ_LOW;
  HAL_GPIO_Init(GPIOB, &GPIO_InitStruct);

  /*Configure GPIO pin : BOOT_Pin */
  GPIO_InitStruct.Pin = BOOT_Pin;
  GPIO_InitStruct.Mode = GPIO_MODE_INPUT;
  GPIO_InitStruct.Pull = GPIO_NOPULL;
  HAL_GPIO_Init(BOOT_GPIO_Port, &GPIO_InitStruct);

}

void Error_Handler(void)
{
}

/************************ (C) COPYRIGHT STMicroelectronics *****END OF FILE****/
